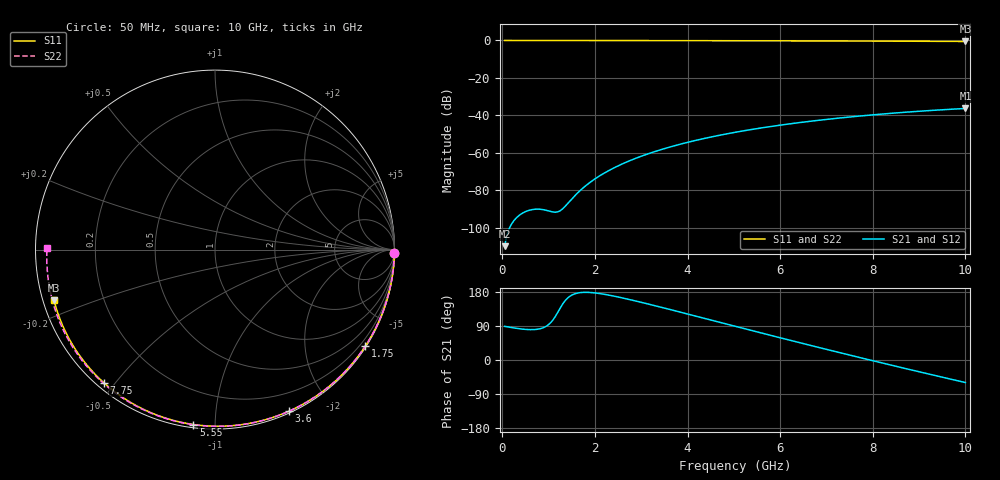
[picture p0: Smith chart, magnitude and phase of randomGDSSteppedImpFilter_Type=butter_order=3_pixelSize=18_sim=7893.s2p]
! freq	dB(S11)	phase(S11)	dB(S12)	phase(S12)
!  dB(S21)	phase(S21)	dB(S22)	phase(S22)
!S-par simulation data
#  GHz  S  DB  R 50
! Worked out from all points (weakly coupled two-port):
!   200 points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, 50 MHz to 10 GHz, reference 50 ohm
!   highest |S21| = -36.32 dB at 10 GHz (marker M1); lowest = -109.8 dB at 50 MHz (marker M2)
!   lowest |S11| = -0.5 dB at 10 GHz (marker M3), VSWR 32.68, Z = 1.57 - j7.7 ohm
!   |S11| at or under -10 dB: nowhere
!   |S22| runs from -0.6 to 0.0 dB; largest |S21 - S12| = 0
!   S11 on the Smith chart (normalised r, x): 50 MHz: open; 1.75 GHz: 0.03, -3.40; 3.6 GHz: 0.02, -1.56; 5.55 GHz: 0.02, -0.88; 7.75 GHz: 0.02, -0.47; 10 GHz: 0.03, -0.15
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0.05  -0.00 -1.0  -109.83 88.9  -109.83 88.9  -0.00 -1.1
0.8  -0.02 -15.2  -90.09 82.1  -90.09 82.1  -0.02 -16.7
1.2  -0.03 -22.6  -91.50 126.2  -91.50 126.2  -0.03 -24.9
1.65  -0.04 -31.0  -80.84 177.2  -80.84 177.2  -0.04 -34.0
1.7  -0.04 -31.9  -79.70 178.1  -79.70 178.1  -0.04 -35.0
1.75  -0.04 -32.8  -78.61 178.5  -78.61 178.5  -0.05 -36.0
1.9  -0.05 -35.5  -75.67 178.2  -75.67 178.2  -0.05 -39.0
2.05  -0.05 -38.3  -73.11 176.3  -73.11 176.3  -0.05 -42.0
2.25  -0.05 -41.9  -70.14 172.4  -70.14 172.4  -0.06 -46.0
2.45  -0.06 -45.4  -67.56 167.6  -67.56 167.6  -0.06 -49.9
2.9  -0.07 -53.4  -62.75 155.2  -62.75 155.2  -0.08 -58.6
3.4  -0.08 -62.1  -58.49 140.1  -58.49 140.1  -0.09 -68.1
3.6  -0.09 -65.5  -57.03 133.9  -57.03 133.9  -0.10 -71.8
4.3  -0.11 -77.1  -52.65 112.0  -52.65 112.0  -0.12 -84.5
5.05  -0.14 -89.2  -48.94 88.3  -48.94 88.3  -0.15 -97.7
5.55  -0.16 -97.0  -46.87 72.6  -46.87 72.6  -0.17 -106.3
6.1  -0.19 -105.4  -44.88 55.6  -44.88 55.6  -0.20 -115.5
6.7  -0.22 -114.4  -43.00 37.2  -43.00 37.2  -0.24 -125.5
7.75  -0.30 -129.8  -40.27 5.5  -40.27 5.5  -0.33 -142.6
8.35  -0.35 -138.5  -38.99 -12.2  -38.99 -12.2  -0.38 -152.5
9.2  -0.44 -150.8  -37.46 -36.8  -37.46 -36.8  -0.48 -166.6
10  -0.53 -162.5  -36.32 -59.4  -36.32 -59.4  -0.58 179.6
